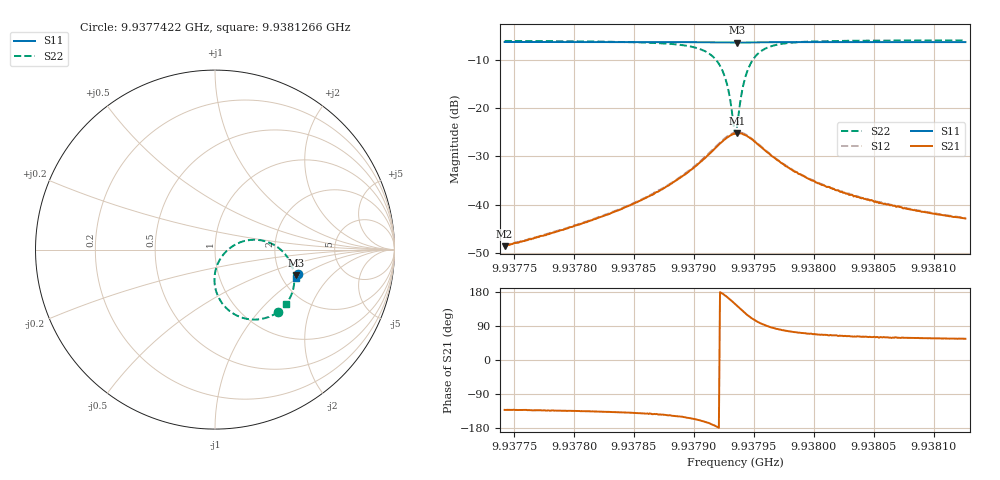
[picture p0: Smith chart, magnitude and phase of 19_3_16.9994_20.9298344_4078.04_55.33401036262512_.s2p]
#  HZ  S  RI  R  50.00
! Rohde & Schwarz Vector Network Analyzer
! Rohde-Schwarz,ZNB20-2Port,1311601062101988,3.16
! Created: UTC 3/20/2024, 10:52:55 PM
! freq[Hz]  re:S11  im:S11  re:S21  im:S21  re:S12  im:S12  re:S22  im:S22
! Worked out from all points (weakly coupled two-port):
!   401 points, 9.9377422 GHz to 9.9381266 GHz, reference 50 ohm
!   highest |S21| = -25.19 dB at 9.9379363 GHz (marker M1); lowest = -48.6 dB at 9.9377422 GHz (marker M2)
!   lowest |S11| = -6.5 dB at 9.9379363 GHz (marker M3), VSWR 2.80, Z = 121 - j44.8 ohm
!   |S11| at or under -10 dB: nowhere
!   |S22| runs from -25.3 to -6.0 dB; largest |S21 - S12| = 0.0021
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9.93774219e9  0.4624 -0.1346  -0.00247 -0.00278  -0.00253 -0.0028  0.3512 -0.3467
9.93780658e9  0.4604 -0.1392  -0.0045 -0.00451  -0.00462 -0.00451  0.3297 -0.3606
9.93784502e9  0.4592 -0.1421  -0.00724 -0.00636  -0.00747 -0.00632  0.3033 -0.3735
9.93787096e9  0.4582 -0.144  -0.0111 -0.00813  -0.0116 -0.00826  0.2684 -0.3846
9.93790172e9  0.4559 -0.1465  -0.0231 -0.00986  -0.0236 -0.00989  0.1688 -0.3841
9.93791709e9  0.4538 -0.1471  -0.0372 -0.00499  -0.0383 -0.00422  0.0608 -0.3237
9.93792286e9  0.4528 -0.1469  -0.0438 0.00222  -0.0448 0.00296  0.0167 -0.2587
9.9379267e9  0.452 -0.1464  -0.0475 0.00921  -0.0483 0.0106  -0.0014 -0.1949
9.93792959e9  0.4518 -0.1457  -0.0485 0.0162  -0.0493 0.0177  -0.00108 -0.138
9.93793343e9  0.4516 -0.1449  -0.047 0.0263  -0.0476 0.0282  0.0254 -0.0586
9.93793439e9  0.4515 -0.1445  -0.0461 0.0288  -0.0465 0.0307  0.0372 -0.0396
9.93793535e9  0.4517 -0.1442  -0.0449 0.0312  -0.045 0.0332  0.0511 -0.0221
9.93793631e9  0.4517 -0.144  -0.0436 0.0336  -0.0436 0.0355  0.0666 -0.00576
9.93794016e9  0.4524 -0.1433  -0.0357 0.041  -0.035 0.0428  0.1408 0.0407
9.93794304e9  0.453 -0.1429  -0.0286 0.0439  -0.0277 0.0456  0.2017 0.0542
9.93794688e9  0.4541 -0.1428  -0.0194 0.0448  -0.0185 0.0462  0.2753 0.0477
9.93795265e9  0.4553 -0.1433  -0.00876 0.042  -0.00757 0.043  0.3558 0.00826
9.93796803e9  0.4566 -0.1455  0.00364 0.0298  0.00427 0.03  0.434 -0.1082
9.93799878e9  0.4564 -0.1488  0.00648 0.0165  0.00683 0.0167  0.4362 -0.2179
9.93802857e9  0.4557 -0.1514  0.00585 0.0115  0.00614 0.0115  0.4226 -0.2586
9.93806316e9  0.4549 -0.1541  0.00508 0.00848  0.00528 0.00857  0.4104 -0.2822
9.93812659e9  0.4531 -0.1585  0.00402 0.00596  0.00417 0.00599  0.3959 -0.3041
